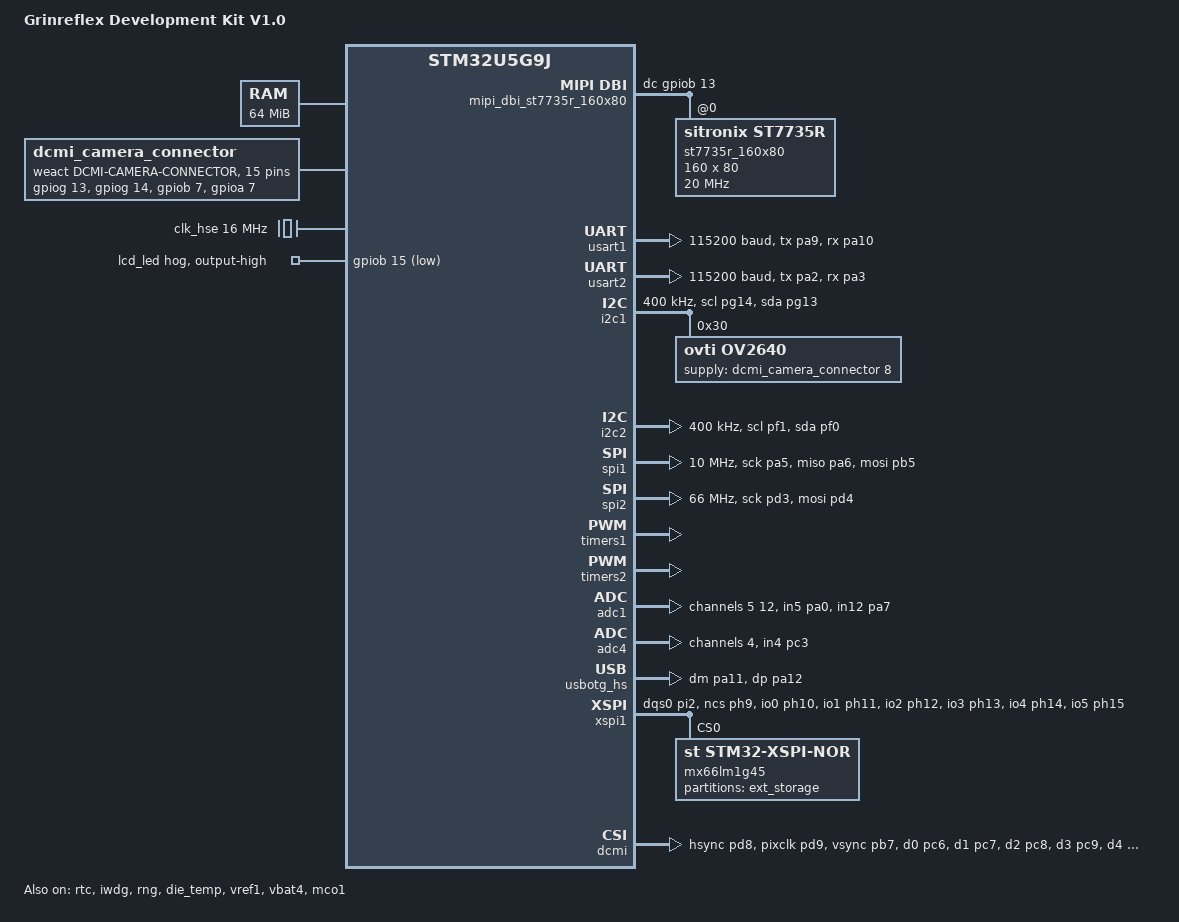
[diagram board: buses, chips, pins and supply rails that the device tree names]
/*
 * Copyright (c) 2025 STMicroelectronics
 *
 * SPDX-License-Identifier: Apache-2.0
 */

/dts-v1/;
#include <st/u5/stm32u5g9Xj.dtsi>
#include <st/u5/stm32u5g9zjtxq-pinctrl.dtsi>
#include <zephyr/dt-bindings/display/panel.h>
#include <zephyr/dt-bindings/input/input-event-codes.h>
#include <st/u5/stm32u5.dtsi>

/ {
	model = "Grinreflex Development Kit V1.0";
	compatible = "st,stm32u5g9j-dk2";

	chosen {
		zephyr,console = &usart1;
		zephyr,shell-uart = &usart1;
		zephyr,sram = &sram0;
		zephyr,flash = &flash0;
		zephyr,code-partition = &slot0_partition;
		zephyr,nema = &nema0;
		zephyr,jpeg = &jpeg0;
		zephyr,display = &st7735r_160x80;
		zephyr,camera = &zephyr_camera_dvp;
	};

	aliases {
		watchdog0 = &iwdg;
		die-temp0 = &die_temp;
		volt-sensor0 = &vref1;
		volt-sensor1 = &vbat4;
	};

	ext_memory: memory@a0000000 {
		compatible = "zephyr,memory-region";
		reg = <0xa0000000 DT_SIZE_M(64)>;
		zephyr,memory-region = "EXTMEM";
		/* The ATTR_MPU_EXTMEM attribut causing a MPU FAULT */
		zephyr,memory-attr = <( DT_MEM_ARM(ATTR_MPU_IO) )>;
	};

	mipi_dbi_st7735r_160x80 {
		compatible = "zephyr,mipi-dbi-spi";
		spi-dev = <&spi2>;
		dc-gpios = <&gpiob 13 GPIO_ACTIVE_HIGH>;
		#address-cells = <1>;
		#size-cells = <0>;

		st7735r_160x80: st7735r@0 {
			compatible = "sitronix,st7735r";
			mipi-max-frequency = <20000000>;
			mipi-mode = "MIPI_DBI_MODE_SPI_4WIRE";
			reg = <0>;
			width = <160>;
			height = <80>;
			inversion-on;
			rgb-is-inverted;
			x-offset = <1>;
			y-offset = <26>;
			pwctr1 = [A2 02 84];
			pwctr2 = [C5];
			pwctr3 = [0A 00];
			pwctr4 = [8A 2A];
			pwctr5 = [8A EE];
			invctr = <7>;
			frmctr1 = [01 2C 2D];
			frmctr2 = [01 2C 2D];
			frmctr3 = [01 2C 2D 01 2C 2D];
			vmctr1 = <14>;
			gamctrp1 = [02 1C 07 12 37 32 29 2D 29 25 2B 39 00 01 03 10];
			gamctrn1 = [03 1D 07 06 2E 2C 29 2D 2E 2E 37 3F 00 00 02 10];
			colmod = <5>;
			/* Set D3 (RGB) bit to 1. LV_COLOR_16_SWAP is enabled by default */
			madctl = <184>; /* Set to <184> to rotate the image 180 degrees. */
			caset = [00 01 00 a0];
			raset = [00 1a 00 69];
		};
	};

	dcmi_camera_connector: connector_dcmi_camera {
		compatible = "weact,dcmi-camera-connector";
		#gpio-cells = <2>;
		gpio-map-mask = <0xffffffff 0xffffffc0>;
		gpio-map-pass-thru = <0 0x3f>;

		gpio-map = <3  0 &gpiog 13  0>,  /* DVP_SDA (I2C1_SDA) OK*/
			   <5  0 &gpiog 14  0>,  /* DVP_SCL (I2C1_SCL) OK*/
			   <7  0 &gpiob 7  0>,  /* DVP_VSYNC OK*/
			   <8  0 &gpioa 7  0>,  /* DVP_PWDN NC*/
			   <9  0 &gpiod 8  0>,  /* DVP_HSYNC OK*/
			   <12 0 &gpiod 7  0>,  /* DVP_D7 OK*/
			   <13 0 &gpioa 8  0>,  /* DVP_XCLK (RCC_MCO1) OK*/
			   <14 0 &gpiob 8  0>,  /* DVP_D6 OK*/
			   <16 0 &gpiob 6  0>,  /* DVP_D5 OK*/
			   <17 0 &gpiod 9  0>,  /* DVP_PCLK OK*/
			   <18 0 &gpioe 4  0>,  /* DVP_D4 OK*/
			   <19 0 &gpioc 6  0>,  /* DVP_D0 OK*/
			   <20 0 &gpioc 9  0>,  /* DVP_D3 */
			   <21 0 &gpioc 7  0>,  /* DVP_D1 */
			   <22 0 &gpioc 8  0>;  /* DVP_D2 */
	};

	nema0: nema-gfx {
		compatible = "st,nema-gfx";
		status = "okay";
	};

	jpeg0: jpeg_hw {
		compatible = "st,jpeg-hw";
		dmas = <&gpdma1 2 125 (STM32_DMA_PERIPH_RX | STM32_DMA_PERIPH_32BITS | STM32_DMA_MEM_32BITS)
				&gpdma1 3 124 (STM32_DMA_PERIPH_TX | STM32_DMA_PERIPH_32BITS | STM32_DMA_MEM_32BITS)>;
		dma-names = "tx", "rx";
		status = "okay";
	};

};

&clk_hsi48 {
	status = "okay";
};

&clk_hse {
	clock-frequency = <DT_FREQ_M(16)>;
	status = "okay";
};

&clk_msis {
	status = "okay";
	msi-range = <4>; /* 4MHz (reset value) */
	msi-pll-mode;
};

&clk_lse {
	status = "okay";
};

&pll1 {
	div-m = <4>;
	mul-n = <80>;
	div-p = <2>;
	div-q = <2>;
	div-r = <2>;
	clocks = <&clk_hse>;
	status = "okay";
};

&pll2 {
	div-m = <4>;
	mul-n = <66>;
	div-p = <2>;
	div-q = <2>;
	div-r = <2>;
	clocks = <&clk_hse>;
	status = "okay";
};

&pll3 {
	div-m = <4>;
	mul-n = <125>;
	div-p = <20>;
	div-q = <20>;
	div-r = <20>;
	clocks = <&clk_hse>;
	status = "okay";
};

&rcc {
	clocks = <&pll1>;
	clock-frequency = <DT_FREQ_M(160)>;
	ahb-prescaler = <1>;
	apb1-prescaler = <1>;
	apb2-prescaler = <1>;
	apb3-prescaler = <1>;
};

&usart1 {
	pinctrl-0 = <&usart1_tx_pa9 &usart1_rx_pa10>;
	pinctrl-names = "default";
	current-speed = <115200>;
	status = "okay";
};

&usart2 {
	pinctrl-0 = <&usart2_tx_pa2 &usart2_rx_pa3>;
	pinctrl-names = "default";
	current-speed = <115200>;
	status = "okay";
};

&i2c1 {
	pinctrl-0 = <&i2c1_scl_pg14 &i2c1_sda_pg13>;
	pinctrl-names = "default";
	status = "okay";
	clock-frequency = <I2C_BITRATE_FAST>;

	ov2640: ov2640@30 {
		compatible = "ovti,ov2640";
		reg = <0x30>;

		supply-gpios = <&dcmi_camera_connector 8 GPIO_ACTIVE_HIGH>;
		clock-rate-control = <0x80>;

		status = "okay";

		port {
			ov2640_ep_out: endpoint {
				remote-endpoint-label = "zephyr_camera_dvp_in";
			};
		};
	};
};

&i2c2 {
	pinctrl-names = "default";
	pinctrl-0 = <&i2c2_scl_pf1 &i2c2_sda_pf0>;
	status = "okay";
	clock-frequency = <I2C_BITRATE_FAST>;
};

&spi1 {
	pinctrl-0 = <&spi1_sck_pa5 &spi1_miso_pa6 &spi1_mosi_pb5>;
	pinctrl-names = "default";
	cs-gpios = <&gpiob 14 (GPIO_ACTIVE_LOW | GPIO_PULL_UP)>;
	clock-frequency = <DT_FREQ_M(10)>;
	status = "okay";
};

&spi2 {
	pinctrl-0 = <&spi2_sck_pd3 &spi2_mosi_pd4>;
	pinctrl-names = "default";
	cs-gpios = <&gpiob 14 (GPIO_ACTIVE_LOW | GPIO_PULL_UP)>;
	clock-frequency = <DT_FREQ_M(66)>;
	status = "okay";
};

&timers1 {
	st,prescaler = <1>;
	status = "okay";

	pwm1: pwm {
		status = "okay";
		pinctrl-0 = <&tim1_ch2_pe11>;
		pinctrl-names = "default";
	};
};

&timers2 {
	st,prescaler = <1>;
	status = "okay";

	pwm2: pwm {
		status = "okay";
		pinctrl-0 = <&tim2_ch4_pa3>;
		pinctrl-names = "default";
	};
};

/* Connected to onboard 4-Gbyte eMMC flash memory */
&sdmmc1 {
	pinctrl-0 = <&sdmmc1_d0_pc8 &sdmmc1_d1_pc9
		&sdmmc1_d2_pc10 &sdmmc1_d3_pc11
		&sdmmc1_d4_pb8 &sdmmc1_d5_pb9
		&sdmmc1_d6_pc6 &sdmmc1_d7_pc7
		&sdmmc1_ck_pc12 &sdmmc1_cmd_pd2>;
	pinctrl-names = "default";
	/* disabled due to conflicting pins pc6, pc7, pc8
	 * pc9 and pb9 with LTDC node.
	 */
	status = "disabled";
};

&gpdma1 {
	status = "okay";
};

&adc1 {
	pinctrl-0 = <&adc1_in5_pa0 &adc1_in12_pa7>;
	pinctrl-names = "default";
	st,adc-clock-source = "ASYNC";
	st,adc-prescaler = <1>;
	status = "okay";

	#address-cells = <1>;
	#size-cells = <0>;

	channel@5 {
		reg = <0x5>;
		zephyr,gain = "ADC_GAIN_1";
		zephyr,reference = "ADC_REF_INTERNAL";
		zephyr,acquisition-time = <ADC_ACQ_TIME_DEFAULT>;
		zephyr,resolution = <14>;
	};

	channel@c {
		reg = <0xc>;
		zephyr,gain = "ADC_GAIN_1";
		zephyr,reference = "ADC_REF_INTERNAL";
		zephyr,acquisition-time = <ADC_ACQ_TIME_DEFAULT>;
		zephyr,resolution = <14>;
	};
};

&adc4 {
	pinctrl-0 = <&adc4_in4_pc3>;
	pinctrl-names = "default";
	st,adc-clock-source = "ASYNC";
	st,adc-prescaler = <1>;
	status = "okay";

	#address-cells = <1>;
	#size-cells = <0>;

	channel@4 {
		reg = <0x4>;
		zephyr,gain = "ADC_GAIN_1";
		zephyr,reference = "ADC_REF_INTERNAL";
		zephyr,acquisition-time = <ADC_ACQ_TIME_DEFAULT>;
		zephyr,resolution = <12>;
	};
};

zephyr_udc0: &usbotg_hs {
	pinctrl-0 = <&usb_otg_hs_dm_pa11 &usb_otg_hs_dp_pa12>;
	pinctrl-names = "default";
	status = "okay";
};

&flash0 {
	partitions {
		compatible = "fixed-partitions";
		#address-cells = <1>;
		#size-cells = <1>;

		/*
		 * Following flash partition is dedicated to the use of bootloader
		 */
		boot_partition: partition@0 {
			label = "mcuboot";
			reg = <0x00000000 DT_SIZE_K(64)>;
		};

		slot0_partition: partition@10000 {
			label = "image-0";
			reg = <0x00010000 DT_SIZE_K(1952)>;
		};

		slot1_partition: partition@1f8000 {
			label = "image-1";
			reg = <0x001f8000 DT_SIZE_K(1960)>;
		};

		storage_partition: partition@3e2000 {
			label = "storage";
			reg = <0x003e2000 DT_SIZE_K(120)>;
		};
	};
};

&xspi1 {
	clocks = <&rcc STM32_CLOCK(AHB2_2, 12U)>,
			 <&rcc STM32_SRC_PLL2_Q HSPI_SEL(2)>;

	pinctrl-0 = <&hspi1_dqs0_pi2 &hspi1_ncs_ph9
		&hspi1_io0_ph10 &hspi1_io1_ph11
		&hspi1_io2_ph12 &hspi1_io3_ph13
		&hspi1_io4_ph14 &hspi1_io5_ph15
		&hspi1_io6_pi0 &hspi1_io7_pi1
		&hspi1_clk_pi3>;
	pinctrl-names = "default";
	status = "okay";

	mx66lm1g45: xspi-nor-flash@0 {
		compatible = "st,stm32-xspi-nor";
		reg = <0>;
		size = <DT_SIZE_M(512)>; /* 1 Gbits */
		ospi-max-frequency = <DT_FREQ_M(128)>;
		spi-bus-width = <XSPI_OCTO_MODE>;
		data-rate = <XSPI_DTR_TRANSFER>;
		four-byte-opcodes;
		status = "okay";

		partitions {
			compatible = "fixed-partitions";
			#address-cells = <1>;
			#size-cells = <1>;

			extflash_partition: partition@0 {
				label = "ext_storage";
				reg = <0 DT_SIZE_M(64)>;
			};
		};
	};
};

&rtc {
	clocks =  <&rcc STM32_CLOCK_BUS_APB3 0x00200000>,
			  <&rcc STM32_SRC_LSE RTC_SEL(1)>;
	status = "okay";
};

&iwdg {
	status = "okay";
};

&rng {
	status = "okay";
};

&die_temp {
	status = "okay";
};

&vref1 {
	status = "okay";
};

&vbat4 {
	status = "okay";
};


&gpiob {
	status = "okay";

	lcd_led {
		gpio-hog;
		gpios = <15 GPIO_ACTIVE_LOW>;
		output-high;
	};
};

zephyr_camera_dvp: &dcmi {
	pinctrl-0 = <&dcmi_hsync_pd8
				&dcmi_pixclk_pd9
				&dcmi_vsync_pb7
		     	&dcmi_d0_pc6
				&dcmi_d1_pc7
				&dcmi_d2_pc8
				&dcmi_d3_pc9
		     	&dcmi_d4_pe4
				&dcmi_d5_pb6
				&dcmi_d6_pb8
				&dcmi_d7_pb9>;
	pinctrl-names = "default";

	port {
		zephyr_camera_dvp_in: endpoint {
			remote-endpoint-label = "ov2640_ep_out";
			bus-width = <8>;
			hsync-active = <0>;
			vsync-active = <0>;
			pclk-sample = <1>;
		};
	};
	status = "okay";
};

/* See reference manual (RM0456 Rev 6) page 390:
 *   1000: HSI48 clock selected (hsi48_ck)
 */
#define MCO1_SEL_HSI48 8

 /* See reference manual (RM0456 Rev 6) page 520:
  *   010: division by 4
  */
#define MCO1_PRE_DIV_4 2

&mco1 {
	status = "okay";
	clocks = <&rcc STM32_SRC_HSI48 MCO1_SEL(MCO1_SEL_HSI48)>;
	prescaler = <MCO1_PRE(MCO1_PRE_DIV_4)>;
	pinctrl-0 = <&rcc_mco_pa8>;
	pinctrl-names = "default";
};
